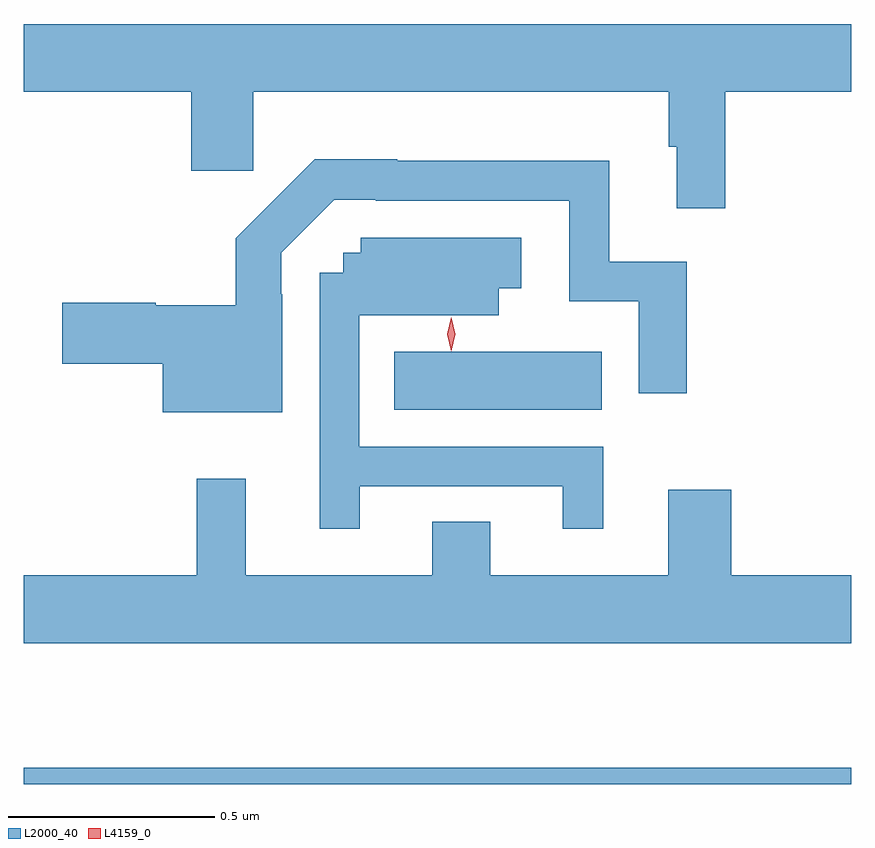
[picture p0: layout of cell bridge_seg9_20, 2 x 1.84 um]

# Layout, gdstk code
import gdstk
lib = gdstk.Library(unit=1e-6, precision=1e-09)
def R(c, l, rs):  # rectangles x0, y0, x1, y1
    for r in rs: c.add(gdstk.rectangle(r[:2], r[2:], *l))
def P(c, l, *ps):  # polygons
    for p in ps: c.add(gdstk.Polygon(p, *l))
L2000_40 = (2000, 40)
L4159_0 = (4159, 0)

bridge_seg9_20 = lib.new_cell('bridge_seg9_20')
R(bridge_seg9_20, L2000_40, [(1011.506,1181.428,1013.506,1181.467), (1012.402,1182.332,1012.903,1182.472)])
P(bridge_seg9_20, L2000_40, [(1013.201,1183.1),(1013.506,1183.1),(1013.506,1183.264),(1011.506,1183.264),(1011.506,1183.1),(1011.911,1183.1),(1011.911,1182.909),(1012.061,1182.909),(1012.061,1183.1),(1013.065,1183.1),(1013.065,1182.968),(1013.084,1182.968),(1013.084,1182.819),(1013.201,1182.819)],
  [(1012.131,1182.611),(1012.128,1182.611),(1012.128,1182.711),(1012.257,1182.84),(1012.357,1182.84),(1012.357,1182.837),(1012.824,1182.837),(1012.824,1182.594),(1012.992,1182.594),(1012.992,1182.372),(1013.108,1182.372),(1013.108,1182.69),(1012.921,1182.69),(1012.921,1182.934),(1012.409,1182.934),(1012.409,1182.937),(1012.21,1182.937),(1012.019,1182.746),(1012.019,1182.585),(1011.825,1182.585),(1011.825,1182.59),(1011.6,1182.59),(1011.6,1182.443),(1011.842,1182.443),(1011.842,1182.326),(1012.131,1182.326)],
  [(1012.318,1182.147),(1012.808,1182.147),(1012.808,1182.045),(1012.906,1182.045),(1012.906,1182.243),(1012.317,1182.243),(1012.317,1182.56),(1012.654,1182.56),(1012.654,1182.626),(1012.708,1182.626),(1012.708,1182.748),(1012.32,1182.748),(1012.32,1182.711),(1012.278,1182.711),(1012.278,1182.663),(1012.221,1182.663),(1012.221,1182.045),(1012.318,1182.045)],
  [(1013.506,1181.932),(1013.216,1181.932),(1013.216,1182.139),(1013.063,1182.139),(1013.063,1181.932),(1012.633,1181.932),(1012.633,1182.062),(1012.493,1182.062),(1012.493,1181.932),(1012.043,1181.932),(1012.043,1182.166),(1011.925,1182.166),(1011.925,1181.932),(1011.506,1181.932),(1011.506,1181.768),(1013.506,1181.768)])
P(bridge_seg9_20, L4159_0, [(1012.539,1182.474),(1012.539,1182.474),(1012.529,1182.515),(1012.539,1182.556),(1012.539,1182.556),(1012.539,1182.556),(1012.549,1182.515),(1012.539,1182.474)])

lib.write_gds('bridge_seg9_20.gds')
